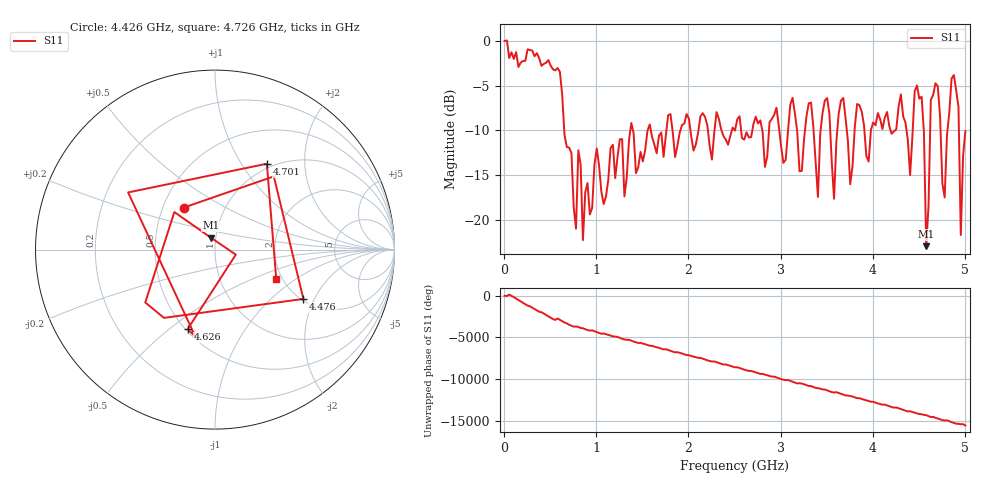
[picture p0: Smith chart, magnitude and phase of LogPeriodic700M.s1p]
!Agilent Technologies,E8364B,MY43040633,A.07.50.37
!Agilent E8364B: A.07.50.37
!Date: Thursday, December 18, 2025 17:13:26
!Correction: S11(Full 2 Port(1,2))
!S1P File: Measurement: S11:
# Hz S  RI  R 50
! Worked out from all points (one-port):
!   201 points, 10 MHz to 5 GHz, reference 50 ohm
!   lowest |S11| = -23.0 dB at 4.576 GHz (marker M1), VSWR 1.15, Z = 47.3 + j6.36 ohm
!   |S11| at or under -10 dB: 655.8 MHz to 1.372 GHz (715.8 MHz wide, 70.6 % of centre); 1.4 GHz to 1.559 GHz (159.2 MHz wide, 10.8 % of centre); 1.594 GHz to 1.762 GHz (168.8 MHz wide, 10.1 % of centre) (the widest 3 of 21)
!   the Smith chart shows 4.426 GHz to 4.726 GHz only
!   S11 on the Smith chart (normalised r, x): 4.426 GHz: 0.64, +0.33; 4.476 GHz: 2.05, -1.65; 4.626 GHz: 0.51, -0.58; 4.701 GHz: 0.94, +1.30; 4.726 GHz: 1.86, -0.72
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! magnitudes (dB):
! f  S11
! 10 MHz  0.0
! 633.8 MHz  -6.1
! 858.3 MHz  -22.3
! 1.258 GHz  -11.0
! 1.881 GHz  -11.7
! 2.505 GHz  -10.0
! 3.129 GHz  -6.4
! 3.204 GHz  -14.6
! 3.328 GHz  -6.9
! 3.403 GHz  -17.5
! 3.503 GHz  -6.4
! 3.578 GHz  -17.7
! 3.678 GHz  -6.4
! 3.752 GHz  -16.0
! 3.827 GHz  -7.1
! 4.376 GHz  -11.0
! 4.426 GHz  -10.7
! 4.476 GHz  -5.0
! 4.551 GHz  -10.2
! 4.576 GHz  -23.0
! 4.626 GHz  -6.6
! 4.701 GHz  -5.1
! 4.726 GHz  -8.4
! 4.775 GHz  -17.5
! 4.875 GHz  -3.8
! 4.925 GHz  -7.4
! 4.95 GHz  -21.7
! 5 GHz  -10.1
